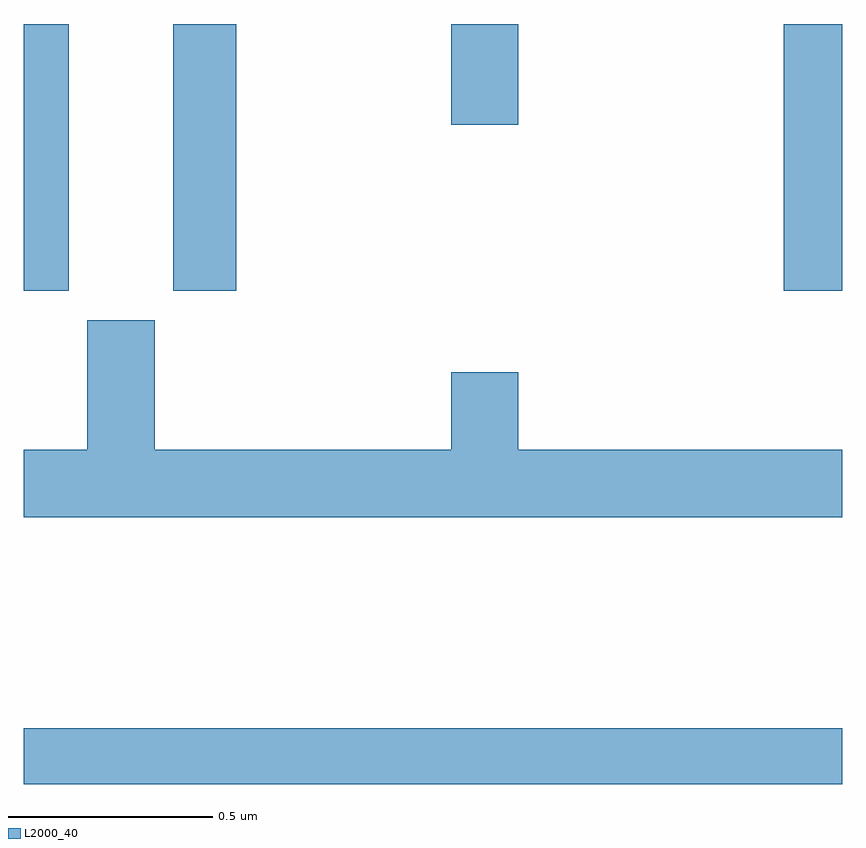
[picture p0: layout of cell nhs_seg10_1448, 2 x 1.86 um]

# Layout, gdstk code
import gdstk
lib = gdstk.Library(unit=1e-6, precision=1e-09)
def R(c, l, rs):  # rectangles x0, y0, x1, y1
    for r in rs: c.add(gdstk.rectangle(r[:2], r[2:], *l))
def P(c, l, *ps):  # polygons
    for p in ps: c.add(gdstk.Polygon(p, *l))
L2000_40 = (2000, 40)

nhs_seg10_1448 = lib.new_cell('nhs_seg10_1448')
R(nhs_seg10_1448, L2000_40, [(128,1319.644,130,1319.78), (128,1320.849,128.11,1321.5), (128.366,1320.849,128.519,1321.5), (129.857,1320.849,130,1321.5), (129.044,1321.254,129.208,1321.5)])
P(nhs_seg10_1448, L2000_40, [(130,1320.46),(129.208,1320.46),(129.208,1320.649),(129.044,1320.649),(129.044,1320.46),(128.32,1320.46),(128.32,1320.777),(128.156,1320.777),(128.156,1320.46),(128,1320.46),(128,1320.296),(130,1320.296)])

lib.write_gds('nhs_seg10_1448.gds')
